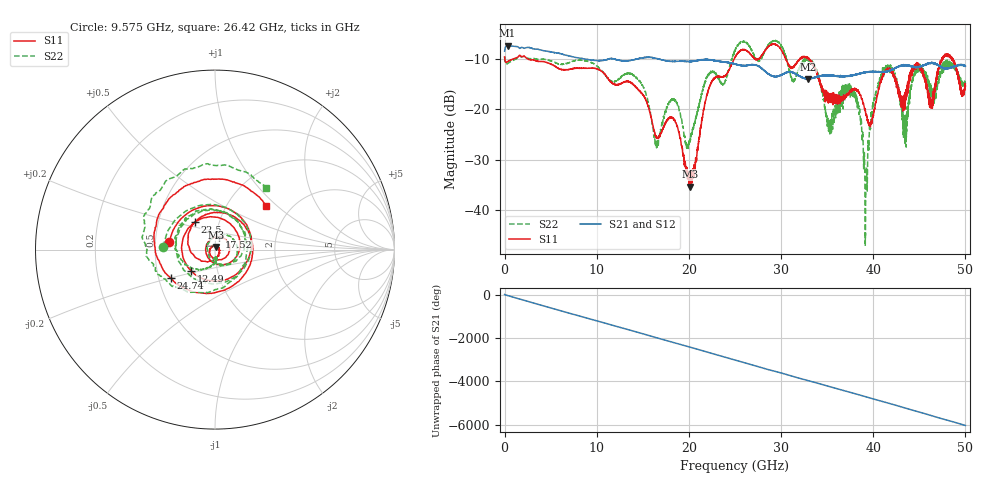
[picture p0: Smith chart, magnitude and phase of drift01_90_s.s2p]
!Created with skrf (http://scikit-rf.org).
# Hz S RI R 50.0
!freq ReS11 ImS11 ReS21 ImS21 ReS12 ImS12 ReS22 ImS22
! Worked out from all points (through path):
!   10001 points, 300 kHz to 50 GHz, reference 50 ohm
!   highest |S21| = -7.33 dB at 325.3 MHz (marker M1); lowest = -14.0 dB at 32.89 GHz (marker M2)
!   group delay of S21, straight-line fit = 335 ps
!   lowest |S11| = -35.4 dB at 20.17 GHz (marker M3), VSWR 1.03, Z = 50.7 + j1.55 ohm
!   |S11| at or under -10 dB: 2.548 GHz to 24.91 GHz (22.37 GHz wide, 163 % of centre); 30.52 GHz to 32.01 GHz (1.495 GHz wide, 4.78 % of centre); 33.07 GHz to 47.44 GHz (14.37 GHz wide, 35.7 % of centre) (the widest 3 of 18)
!   |S22| runs from -47.3 to -6.3 dB; largest |S21 - S12| = 0.0093
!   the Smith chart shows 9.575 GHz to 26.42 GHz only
!   S11 on the Smith chart (normalised r, x): 9.575 GHz: 0.59, +0.05; 12.49 GHz: 0.75, -0.18; 17.52 GHz: 1.04, +0.15; 22.5 GHz: 0.77, +0.24; 24.74 GHz: 0.58, -0.20; 26.42 GHz: 1.51, +0.85
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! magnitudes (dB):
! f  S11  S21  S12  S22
! 300 kHz  -9.6  -8.4  -8.5  -9.5
! 325.3 MHz  -10.5  -7.3  -7.3  -10.9
! 8.335 GHz  -11.8  -9.8  -9.9  -10.2
! 9.575 GHz  -11.8  -10.2  -10.2  -10.8
! 12.49 GHz  -15.0  -10.3  -10.3  -13.8
! 16.67 GHz  -25.8  -10.0  -10.0  -27.1
! 17.52 GHz  -22.5  -10.3  -10.3  -20.0
! 20.17 GHz  -35.4  -10.5  -10.5  -25.9
! 22.5 GHz  -14.5  -10.2  -10.2  -12.6
! 24.74 GHz  -10.7  -10.8  -10.9  -9.5
! 25 GHz  -9.6  -11.0  -11.0  -8.4
! 26.42 GHz  -8.5  -11.2  -11.2  -7.0
! 32.89 GHz  -9.8  -14.0  -13.9  -10.0
! 33.34 GHz  -10.7  -13.8  -13.8  -10.6
! 35.23 GHz  -17.6  -13.3  -13.3  -22.4
! 37.99 GHz  -16.0  -13.2  -13.1  -17.1
! 39.17 GHz  -20.5  -12.6  -12.6  -41.9
! 40.14 GHz  -20.0  -12.5  -12.5  -17.7
! 41.67 GHz  -12.0  -12.3  -12.4  -11.9
! 43.45 GHz  -16.6  -11.3  -11.3  -26.3
! 44.88 GHz  -11.0  -11.6  -11.6  -11.7
! 50 GHz  -15.3  -11.3  -11.4  -14.8
